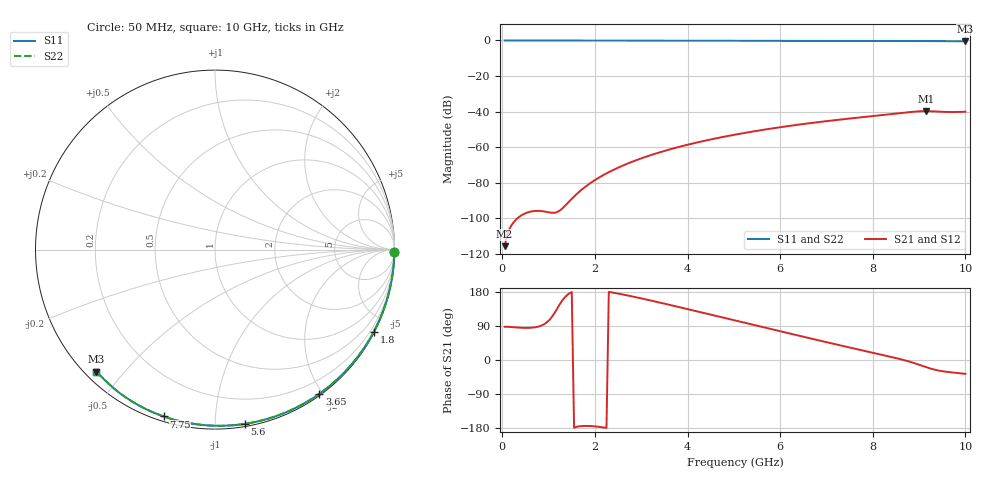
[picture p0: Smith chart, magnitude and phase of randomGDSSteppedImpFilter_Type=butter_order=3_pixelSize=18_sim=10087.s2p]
! freq	dB(S11)	phase(S11)	dB(S12)	phase(S12)
!  dB(S21)	phase(S21)	dB(S22)	phase(S22)
!S-par simulation data
#  GHz  S  DB  R 50
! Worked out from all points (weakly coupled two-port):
!   200 points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, 50 MHz to 10 GHz, reference 50 ohm
!   highest |S21| = -39.70 dB at 9.15 GHz (marker M1); lowest = -115.6 dB at 50 MHz (marker M2)
!   lowest |S11| = -0.5 dB at 10 GHz (marker M3), VSWR 37.71, Z = 1.56 - j21.1 ohm
!   |S11| at or under -10 dB: nowhere
!   |S22| runs from -0.5 to 0.0 dB; largest |S21 - S12| = 0
!   S11 on the Smith chart (normalised r, x): 50 MHz: open; 1.8 GHz: 0.04, -4.12; 3.65 GHz: 0.02, -1.96; 5.6 GHz: 0.02, -1.18; 7.75 GHz: 0.02, -0.74; 10 GHz: 0.03, -0.42
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0.05  -0.00 -0.8  -115.57 87.7  -115.57 87.7  -0.00 -0.8
0.9  -0.02 -13.8  -96.04 94.1  -96.04 94.1  -0.02 -13.8
1.75  -0.03 -26.6  -83.08 -174.1  -83.08 -174.1  -0.03 -26.6
1.8  -0.03 -27.3  -82.07 -173.9  -82.07 -173.9  -0.03 -27.3
1.9  -0.04 -28.8  -80.18 -174.2  -80.18 -174.2  -0.04 -28.8
2.25  -0.04 -34.0  -74.67 -179.2  -74.67 -179.2  -0.04 -34.0
2.45  -0.05 -36.9  -72.08 176.5  -72.08 176.5  -0.05 -36.9
2.65  -0.05 -39.8  -69.77 171.7  -69.77 171.7  -0.05 -39.8
3  -0.06 -44.9  -66.25 162.6  -66.25 162.6  -0.06 -44.9
3.4  -0.07 -50.6  -62.84 151.5  -62.84 151.5  -0.07 -50.6
3.65  -0.07 -54.1  -60.97 144.4  -60.97 144.4  -0.07 -54.1
4.3  -0.09 -63.1  -56.76 125.6  -56.76 125.6  -0.09 -63.1
5.05  -0.11 -73.2  -52.80 103.6  -52.80 103.6  -0.11 -73.2
5.6  -0.13 -80.4  -50.34 87.5  -50.34 87.5  -0.13 -80.4
6.15  -0.15 -87.4  -48.19 71.4  -48.19 71.4  -0.15 -87.4
6.7  -0.18 -94.3  -46.28 55.6  -46.28 55.6  -0.18 -94.3
7.75  -0.24 -107.1  -43.17 26.1  -43.17 26.1  -0.24 -107.1
8.35  -0.29 -114.3  -41.53 9.5  -41.53 9.5  -0.29 -114.3
8.9  -0.33 -120.8  -40.01 -8.3  -40.01 -8.3  -0.33 -120.8
9.15  -0.36 -123.7  -39.70 -18.7  -39.70 -18.7  -0.36 -123.7
9.65  -0.43 -129.8  -40.20 -32.0  -40.20 -32.0  -0.43 -129.8
10  -0.46 -134.2  -40.06 -36.6  -40.06 -36.6  -0.46 -134.2
